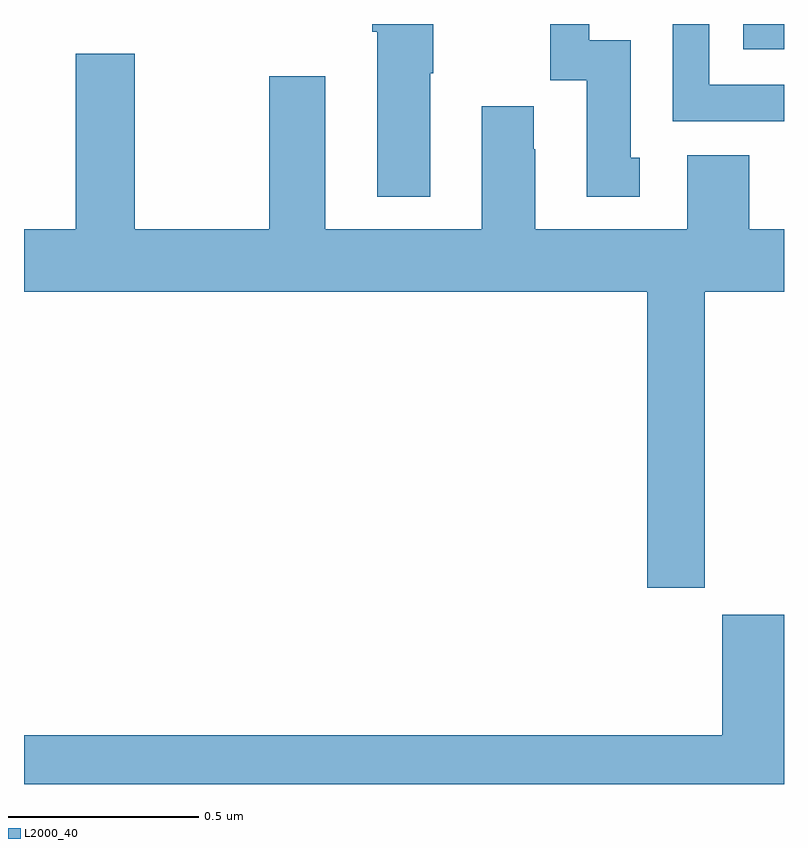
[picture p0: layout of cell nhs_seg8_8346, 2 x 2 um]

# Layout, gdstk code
import gdstk
lib = gdstk.Library(unit=1e-6, precision=1e-09)
def R(c, l, rs):  # rectangles x0, y0, x1, y1
    for r in rs: c.add(gdstk.rectangle(r[:2], r[2:], *l))
def P(c, l, *ps):  # polygons
    for p in ps: c.add(gdstk.Polygon(p, *l))
L2000_40 = (2000, 40)

nhs_seg8_8346 = lib.new_cell('nhs_seg8_8346')
R(nhs_seg8_8346, L2000_40, [(223.893,1087.833,224,1087.9)])
P(nhs_seg8_8346, L2000_40, [(224,1087.74),(223.803,1087.74),(223.803,1087.9),(223.707,1087.9),(223.707,1087.644),(224,1087.644)],
  [(223.069,1087.771),(223.077,1087.771),(223.077,1087.9),(222.917,1087.9),(222.917,1087.88),(222.929,1087.88),(222.929,1087.445),(223.069,1087.445)],
  [(223.621,1087.548),(223.597,1087.548),(223.597,1087.857),(223.488,1087.857),(223.488,1087.9),(223.385,1087.9),(223.385,1087.752),(223.481,1087.752),(223.481,1087.446),(223.621,1087.446)],
  [(223.792,1087.196),(224,1087.196),(224,1087.36),(223.909,1087.36),(223.909,1087.555),(223.745,1087.555),(223.745,1087.36),(223.345,1087.36),(223.345,1087.571),(223.342,1087.571),(223.342,1087.684),(223.205,1087.684),(223.205,1087.36),(222.793,1087.36),(222.793,1087.762),(222.646,1087.762),(222.646,1087.36),(222.291,1087.36),(222.291,1087.822),(222.136,1087.822),(222.136,1087.36),(222,1087.36),(222,1087.196),(223.64,1087.196),(223.64,1086.417),(223.792,1086.417)],
  [(224,1086.345),(223.838,1086.345),(223.838,1086.028),(222,1086.028),(222,1085.9),(224,1085.9)])

lib.write_gds('nhs_seg8_8346.gds')
